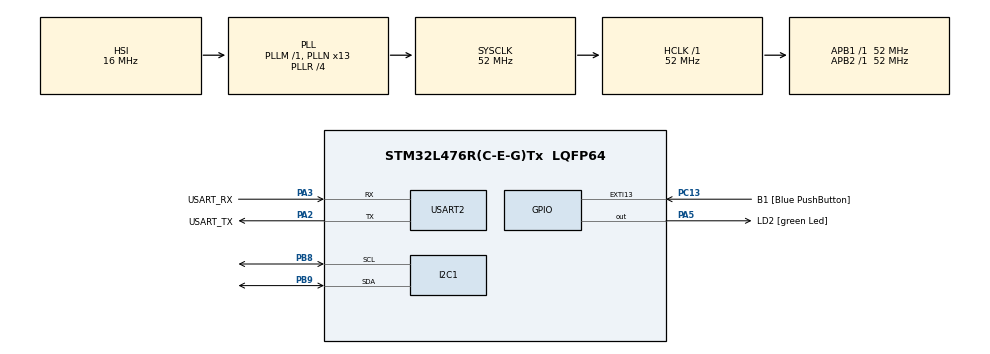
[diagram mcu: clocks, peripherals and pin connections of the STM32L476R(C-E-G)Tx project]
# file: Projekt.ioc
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I2C1.Timing=0x00C0FEFF
Mcu.Family=STM32L4
Mcu.Name=STM32L476R(C-E-G)Tx
Mcu.Package=LQFP64
NVIC.EXTI15_10_IRQn=true\:0\:0\:false\:false\:true\:true\:true\:true
NVIC.I2C1_EV_IRQn=true\:0\:0\:false\:false\:true\:true\:true\:true
NVIC.PriorityGroup=NVIC_PRIORITYGROUP_4
NVIC.TIM1_UP_TIM16_IRQn=true\:0\:0\:false\:false\:true\:true\:true\:true
NVIC.TIM2_IRQn=true\:0\:0\:false\:false\:true\:true\:true\:true
NVIC.USART2_IRQn=true\:0\:0\:false\:false\:true\:true\:true\:true
PA13\ (JTMS-SWDIO).GPIO_Label=TMS
PA13\ (JTMS-SWDIO).Mode=Serial_Wire
PA13\ (JTMS-SWDIO).Signal=SYS_JTMS-SWDIO
PA14\ (JTCK-SWCLK).GPIO_Label=TCK
PA14\ (JTCK-SWCLK).Mode=Serial_Wire
PA14\ (JTCK-SWCLK).Signal=SYS_JTCK-SWCLK
PA2.GPIO_Label=USART_TX
PA2.GPIO_Mode=GPIO_MODE_AF_PP
PA2.GPIO_PuPd=GPIO_NOPULL
PA2.GPIO_Speed=GPIO_SPEED_FREQ_VERY_HIGH
PA2.Mode=Asynchronous
PA2.Signal=USART2_TX
PA3.GPIO_Label=USART_RX
PA3.GPIO_Mode=GPIO_MODE_AF_PP
PA3.GPIO_PuPd=GPIO_NOPULL
PA3.GPIO_Speed=GPIO_SPEED_FREQ_VERY_HIGH
PA3.Mode=Asynchronous
PA3.Signal=USART2_RX
PA5.GPIO_Label=LD2 [green Led]
PA5.GPIO_ModeDefaultOutputPP=GPIO_MODE_OUTPUT_PP
PA5.GPIO_PuPd=GPIO_NOPULL
PA5.GPIO_Speed=GPIO_SPEED_FREQ_LOW
PA5.Signal=GPIO_Output
PB3\ (JTDO-TRACESWO).GPIO_Label=SWO
PB3\ (JTDO-TRACESWO).Signal=SYS_JTDO-SWO
PB8.Mode=I2C
PB8.Signal=I2C1_SCL
PB9.Mode=I2C
PB9.Signal=I2C1_SDA
PC13.GPIO_Label=B1 [Blue PushButton]
PC13.GPIO_ModeDefaultEXTI=GPIO_MODE_IT_FALLING
PC13.GPIO_PuPd=GPIO_NOPULL
PC13.Signal=GPXTI13
PC14-OSC32_IN\ (PC14).Mode=LSE-External-Oscillator
PC14-OSC32_IN\ (PC14).Signal=RCC_OSC32_IN
PC15-OSC32_OUT\ (PC15).Mode=LSE-External-Oscillator
PC15-OSC32_OUT\ (PC15).Signal=RCC_OSC32_OUT
PH0-OSC_IN\ (PH0).Signal=RCC_OSC_IN
PH1-OSC_OUT\ (PH1).Signal=RCC_OSC_OUT
ProjectManager.HeapSize=0x200
ProjectManager.StackSize=0x400
ProjectManager.TargetToolchain=STM32CubeIDE
RCC.ADCFreq_Value=64000000
RCC.AHBFreq_Value=52000000
RCC.APB1Freq_Value=52000000
RCC.APB1TimFreq_Value=52000000
RCC.APB2Freq_Value=52000000
RCC.APB2TimFreq_Value=52000000
RCC.CortexFreq_Value=52000000
RCC.HCLKFreq_Value=52000000
RCC.HSE_VALUE=8000000
RCC.HSI_VALUE=16000000
RCC.MSI_VALUE=4000000
RCC.PLLN=13
RCC.PLLR=RCC_PLLR_DIV4
RCC.PLLSourceVirtual=RCC_PLLSOURCE_HSI
RCC.PREFETCH_ENABLE=1
RCC.SYSCLKFreq_VALUE=52000000
RCC.SYSCLKSource=RCC_SYSCLKSOURCE_PLLCLK
RCC.USBFreq_Value=64000000
RCC.VCOOutputFreq_Value=208000000
TIM16.AutoReloadPreload=TIM_AUTORELOAD_PRELOAD_ENABLE
TIM16.Channel=TIM_CHANNEL_1
TIM16.Period=999
TIM16.Prescaler=3999
TIM2.AutoReloadPreload=TIM_AUTORELOAD_PRELOAD_ENABLE
TIM2.Channel-Output\ Compare1\ No\ Output=TIM_CHANNEL_1
TIM2.Period=999
TIM2.Prescaler=4726
USART2.VirtualMode-Asynchronous=VM_ASYNC
VP_TIM16_VS_ClockSourceINT.Mode=Enable_Timer
VP_TIM16_VS_no_output1.Mode=Output Compare1 No Output
VP_TIM2_VS_no_output1.Mode=Output Compare1 No Output
board=NUCLEO-L476RG

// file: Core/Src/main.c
/* USER CODE BEGIN Header */
/**
  ******************************************************************************
  * @file           : main.c
  * @brief          : Main program body
  ******************************************************************************
  * @attention
  *
  * Copyright (c) 2024 STMicroelectronics.
  * All rights reserved.
  *
  * This software is licensed under terms that can be found in the LICENSE file
  * in the root directory of this software component.
  * If no LICENSE file comes with this software, it is provided AS-IS.
  *
  ******************************************************************************
  */
/* USER CODE END Header */
#include "main.h"
#include "i2c.h"
#include "tim.h"
#include "usart.h"
#include "gpio.h"

/* USER CODE BEGIN Includes */
#include <stdio.h>
#include <string.h>
#include "mpu6050_register_map.h"
//#include "bme280_add.h"
//#include "bme280_defs.h"
/* USER CODE END Includes */

/* USER CODE BEGIN PV */
char buffer[20]={0};
char who[64]={0};
uint8_t button=0;
uint8_t data_buff[64]={0};
static int16_t x=0,y=0,z=0;
static char str[64]={0};
float Ax=0, Ay=0, Az=0;
/* USER CODE END PV */

void SystemClock_Config(void);

/* USER CODE BEGIN 0 */
void mpu6050_read(uint8_t address, uint8_t *dest, uint8_t num){
	HAL_I2C_Mem_Read(&hi2c1, MPU6050_I2C_ADDRESS , address, 1,dest , num, HAL_MAX_DELAY);
}

void mpu6050_write(uint8_t address, uint8_t value){
	HAL_I2C_Mem_Write(&hi2c1, MPU6050_I2C_ADDRESS, address, 1, &value, sizeof(value), HAL_MAX_DELAY);
}
void mpu6050_read_it(uint8_t address, uint8_t num){
	HAL_I2C_Mem_Read_IT(&hi2c1,MPU6050_I2C_ADDRESS , address, 1,data_buff , num);
}

void HAL_TIM_PeriodElapsedCallback(TIM_HandleTypeDef *htim){
	if(htim->Instance== TIM16){
		HAL_GPIO_TogglePin(LD2_GPIO_Port,LD2_Pin);
	}
	if(htim->Instance== TIM2){
		HAL_UART_Transmit_IT(&huart2,(uint8_t*) str, strlen(str));
		}
}
void HAL_GPIO_EXTI_Callback(uint16_t GPIO_Pin){
		HAL_UART_Transmit_IT(&huart2,(uint8_t*) buffer, sizeof(buffer));
}
/* USER CODE END 0 */

int main(void)
{

  /* MCU Configuration--------------------------------------------------------*/

  /* Reset of all peripherals, Initializes the Flash interface and the Systick. */
  HAL_Init();

  /* Configure the system clock */
  SystemClock_Config();

  /* Initialize all configured peripherals */
  MX_GPIO_Init();
  MX_USART2_UART_Init();
  MX_TIM2_Init();
  MX_TIM16_Init();
  MX_I2C1_Init();
  /* USER CODE BEGIN 2 */
  /*
  if(BME280_init() != BME280_OK) {
  	  printf("Blad inicjalizacji!\n");
    }
  */
  HAL_TIM_Base_Start_IT(&htim2);
  HAL_TIM_Base_Start_IT(&htim16);
  sprintf(buffer,"Button pressed\r\n");
  /* USER CODE END 2 */

  /* Infinite loop */
  /* USER CODE BEGIN WHILE */
  uint8_t who_am_i=0;
  	mpu6050_read(MPU6050_WHO_AM_I, &who_am_i ,1);
    if (who_am_i == 0x68) {
    	HAL_UART_Transmit(&huart2,(uint8_t *)"Found", 5,100);
      } else {
    	HAL_UART_Transmit(&huart2,(uint8_t *)"Error", 5,100);

      }
   // HAL_UART_Transmit_IT(&huart2,(uint8_t*) who, sizeof(who));

    mpu6050_write(MPU6050_PWR_MGMT_1, MPU6050_PWR_MGMT_1_WAKE);

    mpu6050_write(MPU6050_SMPRT_DIV, MPU6050_SMPRT_DIV_VALUE);

    mpu6050_write(MPU6050_CONFIG, MPU6050_CONFIG_ACCEL_XOUT_L|MPU6050_CONFIG_ACCEL_YOUT_L|MPU6050_CONFIG_ACCEL_ZOUT_L);

    mpu6050_write(MPU6050_ACCEL_CONFIG, MPU6050_ACCEL_CONFIG_VALUE);

    mpu6050_read_it(MPU6050_ACCEL_XOUT_H, 6);
  while (1)
  {
	  	  if(HAL_GPIO_ReadPin(B1_GPIO_Port, B1_Pin)== 0){
	  		  HAL_Delay(5);
	  		  button=1;
	  		  while(!HAL_GPIO_ReadPin(B1_GPIO_Port, B1_Pin));
		  	  }
		  button=0;

		  mpu6050_read_it(MPU6050_ACCEL_XOUT_H, 6);

		  x=data_buff[0]<<8 | data_buff[1];
		  y=data_buff[2]<<8 | data_buff[3];
		  z=data_buff[4]<<8 | data_buff[5];

		  Ax=(float)x/8192.f;
		  Ay=(float)y/8192.f;
		  Az=(float)z/8192.f;

		  sprintf(str,"Ax= %.2f Ay= %.2f Az=%.2f \n\r",Ax, Ay, Az);
		  //HAL_UART_Transmit(&huart2, str, strlen(str), 100);

    /* USER CODE END WHILE */

  }
}

void SystemClock_Config(void)
{
  RCC_OscInitTypeDef RCC_OscInitStruct = {0};
  RCC_ClkInitTypeDef RCC_ClkInitStruct = {0};

  /** Configure the main internal regulator output voltage
  */
  if (HAL_PWREx_ControlVoltageScaling(PWR_REGULATOR_VOLTAGE_SCALE1) != HAL_OK)
  {
    Error_Handler();
  }

  /** Initializes the RCC Oscillators according to the specified parameters
  * in the RCC_OscInitTypeDef structure.
  */
  RCC_OscInitStruct.OscillatorType = RCC_OSCILLATORTYPE_HSI;
  RCC_OscInitStruct.HSIState = RCC_HSI_ON;
  RCC_OscInitStruct.HSICalibrationValue = RCC_HSICALIBRATION_DEFAULT;
  RCC_OscInitStruct.PLL.PLLState = RCC_PLL_ON;
  RCC_OscInitStruct.PLL.PLLSource = RCC_PLLSOURCE_HSI;
  RCC_OscInitStruct.PLL.PLLM = 1;
  RCC_OscInitStruct.PLL.PLLN = 13;
  RCC_OscInitStruct.PLL.PLLP = RCC_PLLP_DIV7;
  RCC_OscInitStruct.PLL.PLLQ = RCC_PLLQ_DIV2;
  RCC_OscInitStruct.PLL.PLLR = RCC_PLLR_DIV4;
  if (HAL_RCC_OscConfig(&RCC_OscInitStruct) != HAL_OK)
  {
    Error_Handler();
  }

  /** Initializes the CPU, AHB and APB buses clocks
  */
  RCC_ClkInitStruct.ClockType = RCC_CLOCKTYPE_HCLK|RCC_CLOCKTYPE_SYSCLK
                              |RCC_CLOCKTYPE_PCLK1|RCC_CLOCKTYPE_PCLK2;
  RCC_ClkInitStruct.SYSCLKSource = RCC_SYSCLKSOURCE_PLLCLK;
  RCC_ClkInitStruct.AHBCLKDivider = RCC_SYSCLK_DIV1;
  RCC_ClkInitStruct.APB1CLKDivider = RCC_HCLK_DIV1;
  RCC_ClkInitStruct.APB2CLKDivider = RCC_HCLK_DIV1;

  if (HAL_RCC_ClockConfig(&RCC_ClkInitStruct, FLASH_LATENCY_3) != HAL_OK)
  {
    Error_Handler();
  }
}

void Error_Handler(void)
{
  __disable_irq();
  while (1)
  {
  }
}
